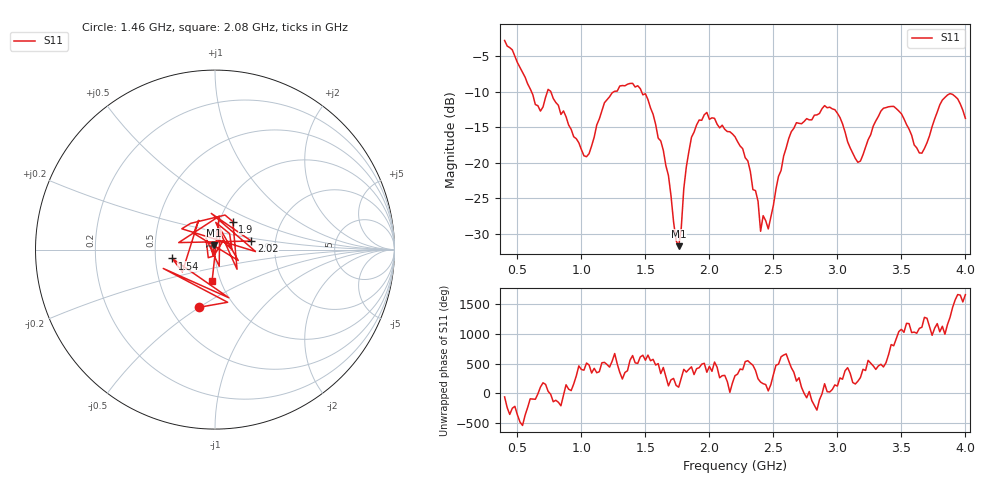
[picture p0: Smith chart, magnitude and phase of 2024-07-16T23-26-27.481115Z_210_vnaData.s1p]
!Created with skrf (http://scikit-rf.org).
# Hz S RI R 50.0
!freq ReS11 ImS11
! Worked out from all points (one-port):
!   181 points, 400 MHz to 4 GHz, reference 50 ohm
!   lowest |S11| = -31.7 dB at 1.76 GHz (marker M1), VSWR 1.05, Z = 49.2 + j2.44 ohm
!   |S11| at or under -10 dB: 610.8 MHz to 733.6 MHz (122.8 MHz wide, 18.3 % of centre); 761.7 MHz to 1.252 GHz (489.9 MHz wide, 48.7 % of centre); 1.471 GHz to end of sweep
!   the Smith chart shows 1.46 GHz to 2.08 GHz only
!   S11 on the Smith chart (normalised r, x): 1.46 GHz: 0.69, -0.50; 1.54 GHz: 0.61, -0.06; 1.9 GHz: 1.16, +0.37; 2.02 GHz: 1.50, +0.15; 2.08 GHz: 0.91, -0.33
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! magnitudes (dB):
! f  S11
! 400 MHz  -2.7
! 680 MHz  -12.7
! 740 MHz  -9.6
! 860 MHz  -12.7
! 1.04 GHz  -19.1
! 1.18 GHz  -11.5
! 1.3 GHz  -9.2
! 1.46 GHz  -9.5
! 1.54 GHz  -12.3
! 1.64 GHz  -18.2
! 1.76 GHz  -31.7
! 1.82 GHz  -20.5
! 1.9 GHz  -14.6
! 2.02 GHz  -13.7
! 2.08 GHz  -15.1
! 2.2 GHz  -16.3
! 2.3 GHz  -19.7
! 2.4 GHz  -29.6
! 2.46 GHz  -29.3
! 2.66 GHz  -15.1
! 2.94 GHz  -12.2
! 3.1 GHz  -17.9
! 3.18 GHz  -19.7
! 3.36 GHz  -12.3
! 3.56 GHz  -15.3
! 3.66 GHz  -18.6
! 3.88 GHz  -10.2
! 4 GHz  -13.7
